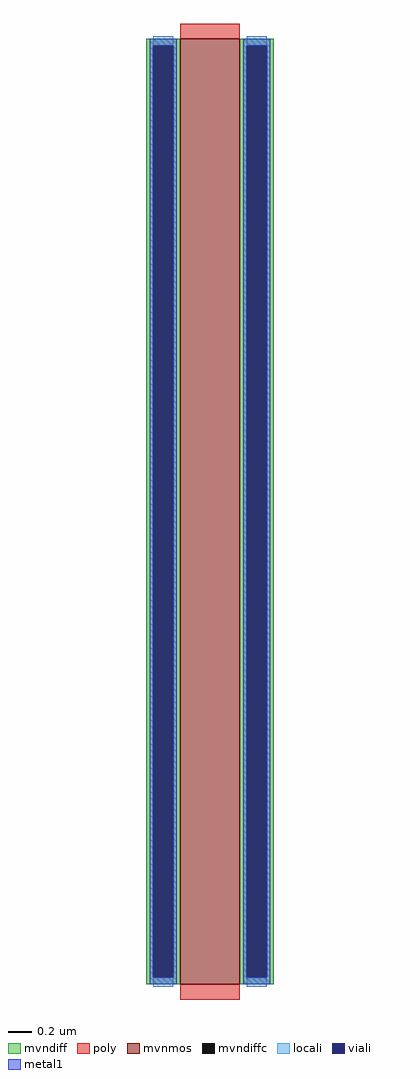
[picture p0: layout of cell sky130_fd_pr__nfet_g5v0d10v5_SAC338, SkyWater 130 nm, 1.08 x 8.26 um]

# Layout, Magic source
magic
tech sky130A
<< mvnmos >>
rect -25 -400 25 400
<< mvndiff >>
rect -54 394 -25 400
rect -54 -394 -48 394
rect -31 -394 -25 394
rect -54 -400 -25 -394
rect 25 394 54 400
rect 25 -394 31 394
rect 48 -394 54 394
rect 25 -400 54 -394
<< mvndiffc >>
rect -48 -394 -31 394
rect 31 -394 48 394
<< poly >>
rect -25 400 25 413
rect -25 -413 25 -400
<< locali >>
rect -48 394 -31 402
rect -48 -402 -31 -394
rect 31 394 48 402
rect 31 -402 48 -394
<< viali >>
rect -48 -394 -31 394
rect 31 -394 48 394
<< metal1 >>
rect -51 394 -28 400
rect -51 -394 -48 394
rect -31 -394 -28 394
rect -51 -400 -28 -394
rect 28 394 51 400
rect 28 -394 31 394
rect 48 -394 51 394
rect 28 -400 51 -394
<< properties >>
string gencell sky130_fd_pr__nfet_g5v0d10v5
string library sky130
string parameters w 8 l 0.5 m 1 nf 1 diffcov 100 polycov 100 guard 0 glc 1 grc 1 gtc 1 gbc 1 tbcov 100 rlcov 100 topc 0 botc 0 poverlap 0 doverlap 1 lmin 0.50 wmin 0.42 compatible {sky130_fd_pr__nfet_01v8 sky130_fd_pr__nfet_01v8_lvt  sky130_fd_bs_flash__special_sonosfet_star  sky130_fd_pr__nfet_g5v0d10v5 sky130_fd_pr__nfet_05v0_nvt  sky130_fd_pr__nfet_03v3_nvt} full_metal 1 viasrc 100 viadrn 100 viagate 100 viagb 0 viagr 0 viagl 0 viagt 0
<< end >>
